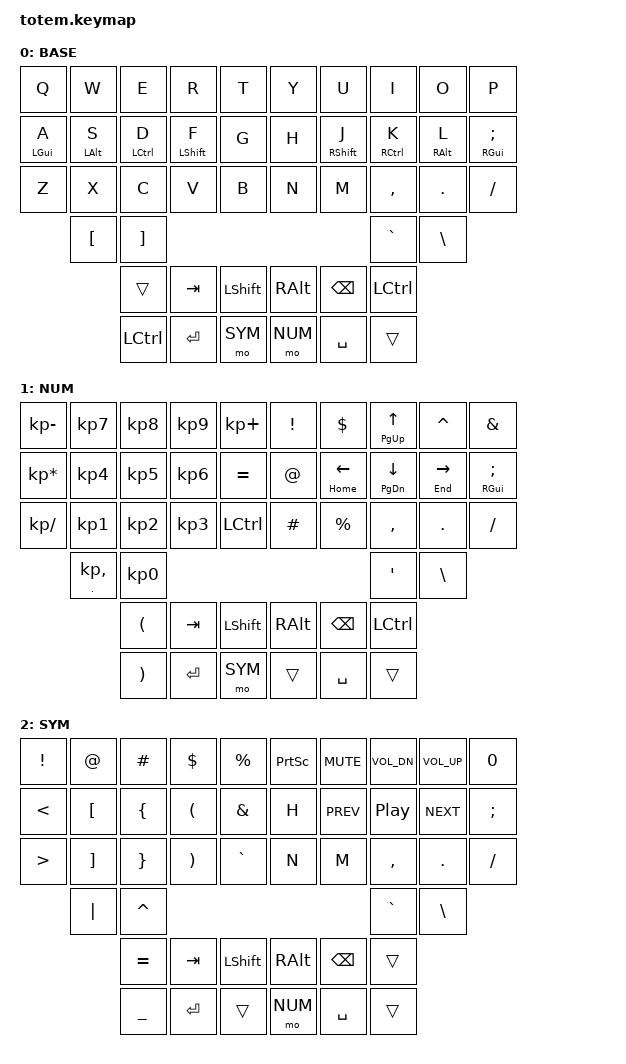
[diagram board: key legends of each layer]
//
//                                                        ▀▀▀▀▀     ▀▀▀▀▀          ▀▀█▀▀
//                                                        ▄▀▀▀▄  ▄  ▄▀▀▀▄  ▄  ▄▀▀▀▄  █  ▄▀▀▀▄
//                                                        █   █  █  █   █  █  █   █  █  █   █
//                                                         ▀▀▀   █   ▀▀▀   █   ▀▀▀   ▀   ▀▀▀
//                                                               █      ▄▄▄█▄▄▄    █   █  
//                                                               ▀      █  █  █     █▄█
//                                                             ▀▀▀▀▀    █  █  █      ▀
//                                                                      ▀  ▀  ▀
//
// ▄▄▄▄▄▄▄▄▄▄▄▄▄▄▄▄▄▄▄▄▄▄▄▄▄▄▄▄▄▄▄▄▄▄▄▄▄▄▄▄▄▄▄▄▄▄▄▄▄▄▄▄▄▄▄▄▄▄▄▄▄▄▄▄▄▄▄▄▄▄▄▄▄▄▄▄▄▄▄▄▄▄▄▄▄▄▄▄▄▄▄▄▄▄▄▄▄▄▄▄▄▄▄▄▄▄▄▄▄▄▄▄▄▄▄▄▄▄▄▄▄▄▄▄▄▄▄▄▄▄▄▄▄▄▄▄▄▄▄▄▄▄▄▄▄▄▄▄▄
       

#include <behaviors.dtsi>
#include <dt-bindings/zmk/keys.h>
#include <dt-bindings/zmk/bt.h>
#include <dt-bindings/zmk/outputs.h>

#define BASE 0
#define NUM 1
#define SYM 2

&mt {
  quick-tap-ms = <100>;
  global-quick-tap;
  flavor = "tap-preferred";
  tapping-term-ms = <170>;
};

/ {
    combos {
            compatible = "zmk,combos";
            combo_esc {
                timeout-ms = <50>;
                key-positions = <0 1>;
                bindings = <&kp ESC>;
            };
    };

    macros {
        gif: gif {
            label = "giphy";
            compatible = "zmk,behavior-macro";
            #binding-cells = <0>;
            bindings
                = <&macro_press &kp LSHFT>
                , <&macro_tap &kp N2>
                , <&macro_release &kp LSHFT>
                , <&macro_tap &kp G &kp I &kp F>
                ;
        };
    };

        keymap {
                compatible = "zmk,keymap";
// ▄▄▄▄▄▄▄▄▄▄▄▄▄▄▄▄▄▄▄▄▄▄▄▄▄▄▄▄▄▄▄▄▄▄▄▄▄▄▄▄▄▄▄▄▄▄▄▄▄▄▄▄▄▄▄▄▄▄▄▄▄▄▄▄▄▄▄▄▄▄▄▄▄▄▄▄▄▄▄▄▄▄▄▄▄▄▄▄▄▄▄▄▄▄▄▄▄▄▄▄▄▄▄▄▄▄▄▄▄▄▄▄▄▄▄▄▄▄▄▄▄▄▄▄▄▄▄▄▄▄▄▄▄▄▄▄▄▄▄▄▄▄▄▄▄▄▄▄▄

                base_layer {
// ┏━━━━━━━━━━━━━━━━━━━━━━━━━━━━━━━━━━━━━━━┓
label= "BASE"                              ;
// ┗━━━━━━━━━━━━━━━━━━━━━━━━━━━━━━━━━━━━━━━┛
//             ┏━━━━━━━━━━━┳━━━━━━━━━━━┳━━━━━━━━━━━┳━━━━━━━━━━━┳━━━━━━━━━━━┓   ┏━━━━━━━━━━━┳━━━━━━━━━━━┳━━━━━━━━━━━┳━━━━━━━━━━━┳━━━━━━━━━━━┓
//             ┃     Q     ┃     W     ┃     E     ┃     R     ┃     T     ┃   ┃     Y     ┃     U     ┃     I     ┃     O     ┃     P     ┃
//             ┣━━━━━━━━━━━╋━━━━━━━━━━━╋━━━━━━━━━━━╋━━━━━━━━━━━╋━━━━━━━━━━━┫   ┣━━━━━━━━━━━╋━━━━━━━━━━━╋━━━━━━━━━━━╋━━━━━━━━━━━╋━━━━━━━━━━━┫
//             ┃     A     ┃     S     ┃     D     ┃     F     ┃     G     ┃   ┃     H     ┃     J     ┃     K     ┃     L     ┃     ;     ┃
//             ┣━━━━━━━━━━━╋━━━━━━━━━━━╋━━━━━━━━━━━╋━━━━━━━━━━━╋━━━━━━━━━━━┫   ┣━━━━━━━━━━━╋━━━━━━━━━━━╋━━━━━━━━━━━╋━━━━━━━━━━━╋━━━━━━━━━━━┫
//             ┃     Z     ┃     X     ┃     C     ┃     V     ┃     B     ┃   ┃     N     ┃     M     ┃     ,     ┃     .     ┃     /     ┃           
//             ┗━━━━━━━━━━━╋━━━━━━━━━━━╋━━━━━━━━━━━╋━━━━━━━━━━━┻━━━━━━━━━━━┛   ┗━━━━━━━━━━━┻━━━━━━━━━━━╋━━━━━━━━━━━╋━━━━━━━━━━━╋━━━━━━━━━━━┛
//                         ┃     [     ┃     ]     ┃                                                   ┃     '     ┃     \     ┃
//                         ┗━━━━━━━━━━━╋━━━━━━━━━━━╋━━━━━━━━━━━┳━━━━━━━━━━━┓   ┏━━━━━━━━━━━┳━━━━━━━━━━━╋━━━━━━━━━━━╋━━━━━━━━━━━┛
//                                     ┃           ┃    TAB    ┃   LSHFT   ┃   ┃    ALT    ┃   BSPC    ┃   LCTRL   ┃
//                                     ┣━━━━━━━━━━━╋━━━━━━━━━━━╋━━━━━━━━━━━┫   ┣━━━━━━━━━━━╋━━━━━━━━━━━╋━━━━━━━━━━━┫
//                                     ┃   LCTRL   ┃   ENTER   ┃    SYM    ┃   ┃    NUM    ┃    SPC    ┃           ┃
//                                     ┗━━━━━━━━━━━┻━━━━━━━━━━━┻━━━━━━━━━━━┛   ┗━━━━━━━━━━━┻━━━━━━━━━━━┻━━━━━━━━━━━┛
 bindings = <
// ╷           ╷           ╷           ╷           ╷           ╷   ╷           ╷           ╷           ╷           ╷           ╷  

    &kp Q       &kp W       &kp E       &kp R       &kp T           &kp Y       &kp U       &kp I       &kp O       &kp P
    &mt LGUI A  &mt LALT S  &mt LCTRL D &mt LSHFT F &kp G           &kp H       &mt RSHFT J &mt RCTRL K &mt RALT L  &mt RGUI SEMICOLON
    &kp Z       &kp X       &kp C       &kp V       &kp B           &kp N       &kp M       &kp COMMA   &kp DOT     &kp FSLH
                &kp LBKT    &kp RBKT                                                        &kp GRAVE   &kp BSLH 
                            &trans      &kp TAB     &kp LSHFT       &kp RALT    &kp BSPC    &kp LCTRL
                            &kp LCTRL   &kp ENTER   &mo SYM         &mo NUM     &kp SPACE   &trans
                        >;
                };
// ▄▄▄▄▄▄▄▄▄▄▄▄▄▄▄▄▄▄▄▄▄▄▄▄▄▄▄▄▄▄▄▄▄▄▄▄▄▄▄▄▄▄▄▄▄▄▄▄▄▄▄▄▄▄▄▄▄▄▄▄▄▄▄▄▄▄▄▄▄▄▄▄▄▄▄▄▄▄▄▄▄▄▄▄▄▄▄▄▄▄▄▄▄▄▄▄▄▄▄▄▄▄▄▄▄▄▄▄▄▄▄▄▄▄▄▄▄▄▄▄▄▄▄▄▄▄▄▄▄▄▄▄▄▄▄▄▄▄▄▄▄▄▄▄▄▄▄▄▄

                NUM_layer {
// ┏━━━━━━━━━━━━━━━━━━━━━━━━━━━━━━━━━━━━━━━┓
label= "NUM"                              ;
// ┗━━━━━━━━━━━━━━━━━━━━━━━━━━━━━━━━━━━━━━━┛
//             ┏━━━━━━━━━━━┳━━━━━━━━━━━┳━━━━━━━━━━━┳━━━━━━━━━━━┳━━━━━━━━━━━┓   ┏━━━━━━━━━━━┳━━━━━━━━━━━┳━━━━━━━━━━━┳━━━━━━━━━━━┳━━━━━━━━━━━┓
//             ┃     -     ┃     7     ┃     8     ┃     9     ┃     +     ┃   ┃     !     ┃     $     ┃   ^/PgUp  ┃     ^     ┃     &     ┃
//             ┣━━━━━━━━━━━╋━━━━━━━━━━━╋━━━━━━━━━━━╋━━━━━━━━━━━╋━━━━━━━━━━━┫   ┣━━━━━━━━━━━╋━━━━━━━━━━━╋━━━━━━━━━━━╋━━━━━━━━━━━╋━━━━━━━━━━━┫
//             ┃     *     ┃     4     ┃     5     ┃     6     ┃     =     ┃   ┃     @     ┃  </Home   ┃   v/PgDn  ┃   >/End   ┃     ;     ┃
//             ┣━━━━━━━━━━━╋━━━━━━━━━━━╋━━━━━━━━━━━╋━━━━━━━━━━━╋━━━━━━━━━━━┫   ┣━━━━━━━━━━━╋━━━━━━━━━━━╋━━━━━━━━━━━╋━━━━━━━━━━━╋━━━━━━━━━━━┫
//             ┃     /     ┃     1     ┃     2     ┃     3     ┃     B     ┃   ┃     #     ┃     %     ┃     ,     ┃     .     ┃     /     ┃           
//             ┗━━━━━━━━━━━╋━━━━━━━━━━━╋━━━━━━━━━━━╋━━━━━━━━━━━┻━━━━━━━━━━━┛   ┗━━━━━━━━━━━┻━━━━━━━━━━━╋━━━━━━━━━━━╋━━━━━━━━━━━╋━━━━━━━━━━━┛
//                         ┃     .,    ┃     0     ┃                                                   ┃     '     ┃     \     ┃
//                         ┗━━━━━━━━━━━╋━━━━━━━━━━━╋━━━━━━━━━━━┳━━━━━━━━━━━┓   ┏━━━━━━━━━━━┳━━━━━━━━━━━╋━━━━━━━━━━━╋━━━━━━━━━━━┛
//                                     ┃     (     ┃    TAB    ┃   SHIFT   ┃   ┃    ALT    ┃   BSPC    ┃   LCTRL   ┃
//                                     ┣━━━━━━━━━━━╋━━━━━━━━━━━╋━━━━━━━━━━━┫   ┣━━━━━━━━━━━╋━━━━━━━━━━━╋━━━━━━━━━━━┫
//                                     ┃     )     ┃   ENTER   ┃    SYM    ┃   ┃    NUM    ┃    SPC    ┃           ┃
//                                     ┗━━━━━━━━━━━┻━━━━━━━━━━━┻━━━━━━━━━━━┛   ┗━━━━━━━━━━━┻━━━━━━━━━━━┻━━━━━━━━━━━┛
 bindings = <
// ╷                ╷                   ╷           ╷           ╷            ╷   ╷           ╷             ╷              ╷             ╷           ╷  

    &kp KP_MINUS     &kp KP_N7           &kp KP_N8   &kp KP_N9   &kp KP_PLUS      &kp EXCL    &kp DOLLAR    &mt PG_UP UP   &kp CARET     &kp AMPERSAND
    &kp KP_MULTIPLY  &kp KP_N4           &kp KP_N5   &kp KP_N6   &kp EQUAL        &kp AT      &mt HOME LEFT &mt PG_DN DOWN &mt END RIGHT &mt RGUI SEMICOLON
    &kp KP_SLASH     &kp KP_N1           &kp KP_N2   &kp KP_N3   &kp LCTRL        &kp HASH    &kp PERCENT   &kp COMMA      &kp DOT       &kp FSLH
                     &mt DOT KP_COMMA    &kp KP_N0                                                          &kp APOS       &kp BSLH 
                            &kp LPAR     &kp TAB     &kp LSHFT                    &kp RALT    &kp BSPC      &kp LCTRL
                            &kp RPAR     &kp ENTER   &mo SYM                      &trans      &kp SPACE     &trans
                        >;
                };
// ▄▄▄▄▄▄▄▄▄▄▄▄▄▄▄▄▄▄▄▄▄▄▄▄▄▄▄▄▄▄▄▄▄▄▄▄▄▄▄▄▄▄▄▄▄▄▄▄▄▄▄▄▄▄▄▄▄▄▄▄▄▄▄▄▄▄▄▄▄▄▄▄▄▄▄▄▄▄▄▄▄▄▄▄▄▄▄▄▄▄▄▄▄▄▄▄▄▄▄▄▄▄▄▄▄▄▄▄▄▄▄▄▄▄▄▄▄▄▄▄▄▄▄▄▄▄▄▄▄▄▄▄▄▄▄▄▄▄▄▄▄▄▄▄▄▄▄▄▄


                  sim_layer {
// ┏━━━━━━━━━━━━━━━━━━━━━━━━━━━━━━━━━━━━━━━┓
label= "SYM"                               ;
// ┗━━━━━━━━━━━━━━━━━━━━━━━━━━━━━━━━━━━━━━━┛
//             ┏━━━━━━━━━━━┳━━━━━━━━━━━┳━━━━━━━━━━━┳━━━━━━━━━━━┳━━━━━━━━━━━┓   ┏━━━━━━━━━━━┳━━━━━━━━━━━┳━━━━━━━━━━━┳━━━━━━━━━━━┳━━━━━━━━━━━┓
//             ┃     !     ┃     @     ┃     #     ┃     $     ┃     %     ┃   ┃  prtscr   ┃    mute   ┃   volup   ┃   voldn   ┃     0     ┃
//             ┣━━━━━━━━━━━╋━━━━━━━━━━━╋━━━━━━━━━━━╋━━━━━━━━━━━╋━━━━━━━━━━━┫   ┣━━━━━━━━━━━╋━━━━━━━━━━━╋━━━━━━━━━━━╋━━━━━━━━━━━╋━━━━━━━━━━━┫
//             ┃     <     ┃     [     ┃     {     ┃     (     ┃     &     ┃   ┃     H     ┃    prev   ┃    play   ┃   next    ┃     ;     ┃
//             ┣━━━━━━━━━━━╋━━━━━━━━━━━╋━━━━━━━━━━━╋━━━━━━━━━━━╋━━━━━━━━━━━┫   ┣━━━━━━━━━━━╋━━━━━━━━━━━╋━━━━━━━━━━━╋━━━━━━━━━━━╋━━━━━━━━━━━┫
//             ┃     >     ┃     ]     ┃     }     ┃     )     ┃     `     ┃   ┃     N     ┃     M     ┃     ,     ┃     .     ┃     /     ┃           
//             ┗━━━━━━━━━━━╋━━━━━━━━━━━╋━━━━━━━━━━━╋━━━━━━━━━━━┻━━━━━━━━━━━┛   ┗━━━━━━━━━━━┻━━━━━━━━━━━╋━━━━━━━━━━━╋━━━━━━━━━━━╋━━━━━━━━━━━┛
//                         ┃     |     ┃     ^     ┃                                                   ┃     '     ┃     \     ┃
//                         ┗━━━━━━━━━━━╋━━━━━━━━━━━╋━━━━━━━━━━━┳━━━━━━━━━━━┓   ┏━━━━━━━━━━━┳━━━━━━━━━━━╋━━━━━━━━━━━╋━━━━━━━━━━━┛
//                                     ┃     =     ┃    TAB    ┃   SHIFT   ┃   ┃           ┃   BSPC    ┃           ┃
//                                     ┣━━━━━━━━━━━╋━━━━━━━━━━━╋━━━━━━━━━━━┫   ┣━━━━━━━━━━━╋━━━━━━━━━━━╋━━━━━━━━━━━┫
//                                     ┃     _     ┃   ENTER   ┃           ┃   ┃    NUM    ┃    SPC    ┃           ┃
//                                     ┗━━━━━━━━━━━┻━━━━━━━━━━━┻━━━━━━━━━━━┛   ┗━━━━━━━━━━━┻━━━━━━━━━━━┻━━━━━━━━━━━┛
 bindings = <
// ╷                ╷                ╷           ╷           ╷            ╷   ╷           ╷             ╷              ╷             ╷           ╷  

    &kp EXCL         &kp AT           &kp HASH   &kp DOLLAR   &kp PERCENT      &kp PSCRN   &kp C_MUTE    &kp C_VOL_DN   &kp C_VOL_UP  &kp N0
    &kp LESS_THAN    &kp LBKT         &kp LBRC   &kp LPAR     &kp AMPERSAND    &kp H       &kp C_PREV    &kp C_PP       &kp C_NEXT    &kp SEMICOLON
    &kp GREATER_THAN &kp RBKT         &kp RBRC   &kp RPAR     &kp GRAVE        &kp N       &kp M         &kp COMMA      &kp DOT       &kp FSLH
                     &kp PIPE         &kp CARET                                                          &kp GRAVE      &kp BSLH 
                            &kp EQUAL     &kp TAB     &kp LSHFT                    &kp RALT    &kp BSPC      &trans
                            &kp UNDER     &kp ENTER   &trans                       &mo NUM     &kp SPACE     &trans
                        >;
                };
        };
};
